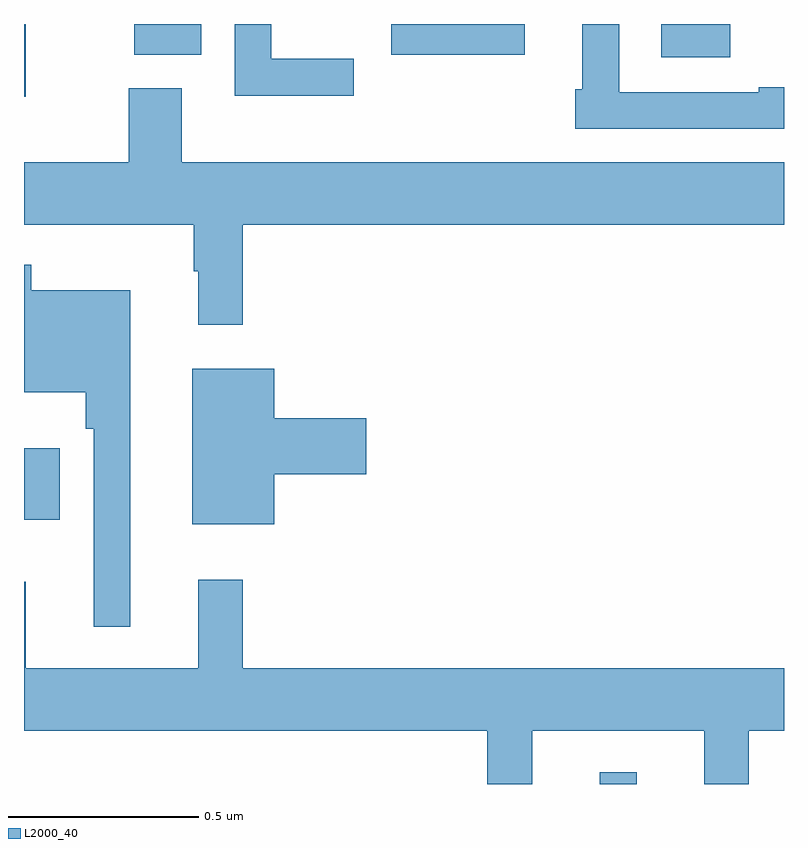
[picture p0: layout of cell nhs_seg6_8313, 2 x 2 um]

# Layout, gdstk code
import gdstk
lib = gdstk.Library(unit=1e-6, precision=1e-09)
def R(c, l, rs):  # rectangles x0, y0, x1, y1
    for r in rs: c.add(gdstk.rectangle(r[:2], r[2:], *l))
def P(c, l, *ps):  # polygons
    for p in ps: c.add(gdstk.Polygon(p, *l))
L2000_40 = (2000, 40)

nhs_seg6_8313 = lib.new_cell('nhs_seg6_8313')
R(nhs_seg6_8313, L2000_40, [(220.515,976.5,220.612,976.531), (219,977.195,219.094,977.383), (219,978.308,219.004,978.5), (220.677,978.413,220.858,978.5), (219.29,978.419,219.466,978.5), (219.966,978.419,220.318,978.5)])
P(nhs_seg6_8313, L2000_40, [(221,978.334),(220.934,978.334),(220.934,978.321),(220.566,978.321),(220.566,978.5),(220.469,978.5),(220.469,978.328),(220.45,978.328),(220.45,978.225),(221,978.225)],
  [(219.868,978.408),(219.651,978.408),(219.651,978.5),(219.555,978.5),(219.555,978.311),(219.868,978.311)],
  [(219.575,977.972),(221,977.972),(221,978.136),(219.415,978.136),(219.415,978.331),(219.275,978.331),(219.275,978.136),(219,978.136),(219,977.972),(219.447,977.972),(219.447,977.849),(219.458,977.849),(219.458,977.709),(219.575,977.709)],
  [(219.28,977.8),(219.019,977.8),(219.019,977.866),(219,977.866),(219,977.531),(219.163,977.531),(219.163,977.435),(219.183,977.435),(219.183,976.914),(219.28,976.914)],
  [(219.658,977.315),(219.901,977.315),(219.901,977.462),(219.658,977.462),(219.658,977.593),(219.443,977.593),(219.443,977.183),(219.658,977.183)],
  [(220.337,976.64),(220.79,976.64),(220.79,976.5),(220.907,976.5),(220.907,976.64),(221,976.64),(221,976.804),(219.575,976.804),(219.575,977.038),(219.458,977.038),(219.458,976.804),(219.005,976.804),(219.005,977.032),(219,977.032),(219,976.64),(220.219,976.64),(220.219,976.5),(220.337,976.5)])

lib.write_gds('nhs_seg6_8313.gds')
